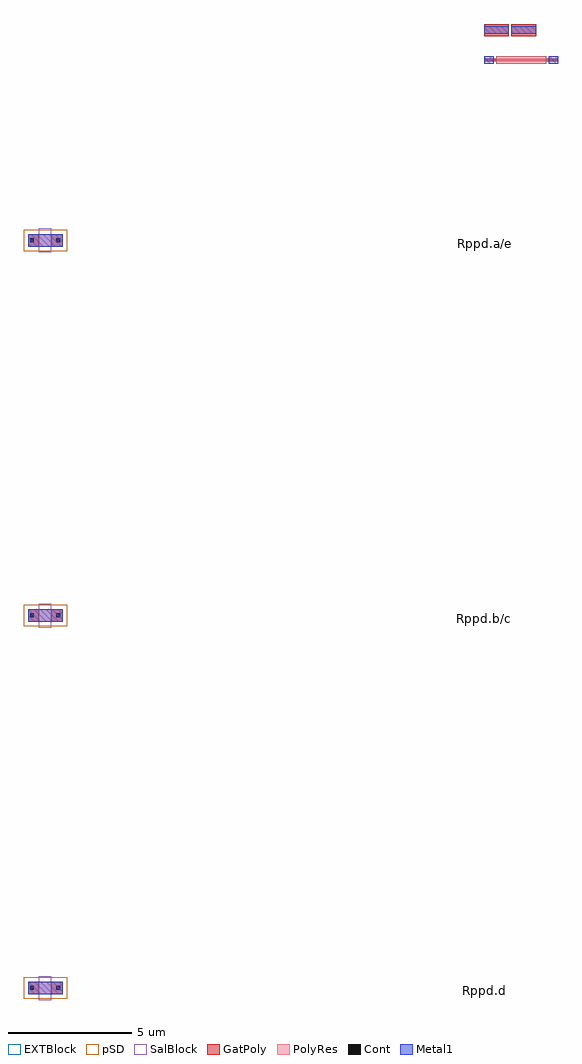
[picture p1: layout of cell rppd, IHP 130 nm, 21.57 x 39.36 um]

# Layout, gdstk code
import gdstk
lib = gdstk.Library(unit=1e-6, precision=1e-09)
def R(c, l, rs):  # rectangles x0, y0, x1, y1
    for r in rs: c.add(gdstk.rectangle(r[:2], r[2:], *l))
GatPoly = (5, 0)
Cont = (6, 0)
Metal1 = (8, 0)
pSD = (14, 0)
SalBlock = (28, 0)
EXTBlock = (111, 0)
PolyRes = (128, 0)

rppd_fail = lib.new_cell('rppd_fail')
R(rppd_fail, GatPoly, [(0,0,3,0.1), (0,1,1,1.5), (1.1,1,2.1,1.5)])
R(rppd_fail, Metal1, [(0,-0.1,0.4,0.2), (2.6,-0.1,3,0.2), (0,1.1,1,1.4), (1.1,1.1,2.1,1.4)])
R(rppd_fail, PolyRes, [(0.5,-0.1,2.5,0.2)])

rppd_pass = lib.new_cell('rppd_pass')
R(rppd_pass, GatPoly, [(-18.39,-37.63,-17.95,-37.13), (-17.45,-37.63,-16.99,-37.13), (-18.39,-22.61,-17.95,-22.11), (-17.45,-22.61,-16.99,-22.11), (-18.39,-7.475,-17.95,-6.975), (-17.45,-7.475,-16.99,-6.975)])
R(rppd_pass, Cont, [(-18.31,-37.45,-18.15,-37.29), (-17.25,-37.45,-17.09,-37.29), (-18.31,-22.43,-18.15,-22.27), (-17.25,-22.43,-17.09,-22.27), (-18.31,-7.295,-18.15,-7.135), (-17.25,-7.295,-17.09,-7.135)])
R(rppd_pass, Metal1, [(-18.39,-37.63,-16.99,-37.13), (-18.39,-22.61,-16.99,-22.11), (-18.39,-7.475,-16.99,-6.975)])
R(rppd_pass, pSD, [(-18.57,-37.81,-16.81,-36.95), (-18.57,-22.79,-16.81,-21.93), (-18.57,-7.655,-16.81,-6.795)])
R(rppd_pass, SalBlock, [(-17.95,-37.86,-17.45,-36.9), (-17.95,-22.84,-17.45,-21.88), (-17.95,-7.705,-17.45,-6.745)])
R(rppd_pass, EXTBlock, [(-18.57,-37.81,-16.81,-36.95), (-18.57,-22.79,-16.81,-21.93), (-18.57,-7.655,-16.81,-6.795)])
R(rppd_pass, PolyRes, [(-17.95,-37.63,-17.45,-37.13), (-17.95,-22.61,-17.45,-22.11), (-17.95,-7.475,-17.45,-6.975)])

rppd = lib.new_cell('rppd')
rppd.add(gdstk.Reference(rppd_fail, (0,0)))
rppd.add(gdstk.Reference(rppd_pass, (0,0)))
rppd.add(gdstk.Label('FAIL', (12,5), layer=63, texttype=0))
rppd.add(gdstk.Label('PASS', (-12,5), layer=63, texttype=0))
rppd.add(gdstk.Label('Rppd.d', (0,-37.49), layer=63, texttype=0))
rppd.add(gdstk.Label('Rppd.b/c', (0,-22.47), layer=63, texttype=0))
rppd.add(gdstk.Label('Rppd.a/e', (0,-7.335), layer=63, texttype=0))
rppd.add(gdstk.Label('6.5_Rppd', (0,21), layer=63, texttype=0))

lib.write_gds('rppd.gds')
